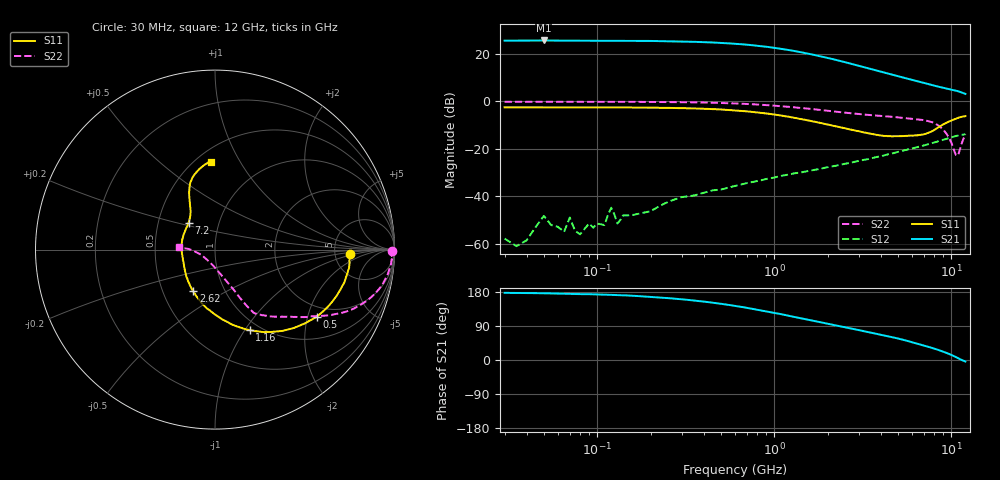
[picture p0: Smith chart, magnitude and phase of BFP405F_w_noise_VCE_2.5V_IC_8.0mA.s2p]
! Infineon Technologies  Discrete & RF Semiconductors
! BFP405F
! VCE =  2.5 V,  IC =  8.0 mA
! Common Emitter S-Parameters:  Nov 2015
# GHz  S  MA  R  50
!  f  S11  S21  S12  S22
! GHz  MAG  ANG  MAG  ANG  MAG  ANG  MAG  ANG
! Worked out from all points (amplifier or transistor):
!   239 points, 30 MHz to 12 GHz, reference 50 ohm
!   highest |S21| = 25.7 dB at 50 MHz (marker M1)
!   |S21| within 3 dB of that: start of sweep to 978.3 MHz
!   unconditionally stable (mu >= 1): 2.464 GHz to end of sweep
!   at 300 MHz: K = 0.15, MSG = 32.8 dB, |S12| = -40.3 dB
!   at 1.88 GHz: K = 0.82, MSG = 23.4 dB, |S12| = -28.1 dB
!   at 12 GHz: K = 1.41, MAG = 4.7 dB, |S12| = -13.8 dB
!   lowest NFmin = 1.52 dB at 450 MHz
!   S11 on the Smith chart (normalised r, x): 30 MHz: 7.04, -0.82; 500 MHz: 1.65, -2.29; 1.16 GHz: 0.89, -1.05; 2.62 GHz: 0.71, -0.36; 7.2 GHz: 0.71, +0.23; 12 GHz: 0.59, +0.76
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0.03  0.7542 -1.9  19.08 177.2  0.0013 157.4  0.9841 -0.5
0.035  0.754 -2.2  19.09 177.0  0.0009 118.3  0.9845 -0.8
0.05  0.7522 -3.8  19.26 175.9  0.0039 15.0  0.9907 -1.7
0.085  0.7534 -5.8  19.01 173.7  0.0021 60.9  0.9895 -2.3
0.11  0.7544 -7.7  18.92 172.4  0.0025 95.6  0.9864 -3.1
0.12  0.7519 -8.4  18.91 172.0  0.0058 88.8  0.9845 -3.6
0.13  0.7504 -9.2  18.89 171.1  0.0027 115.4  0.9845 -3.9
0.15  0.7483 -10.5  18.94 170.2  0.004 62.7  0.9846 -4.5
0.24  0.7361 -16.7  18.58 164.0  0.0071 80.1  0.9751 -7.4
0.36  0.7126 -24.6  17.98 156.5  0.0107 81.9  0.9579 -10.8
0.5  0.6794 -33.4  17.12 148.3  0.014 74.8  0.9312 -14.6
0.6  0.648 -39.4  16.41 142.7  0.0167 76.1  0.9104 -16.9
0.9  0.5603 -55.0  14.22 128.4  0.0233 71.1  0.8405 -23.0
1.16  0.4885 -66.7  12.4 118.4  0.0281 67.4  0.7819 -26.9
1.64  0.3836 -85.4  9.746 104.1  0.0356 65.2  0.6922 -32.3
2.08  0.3185 -100.8  8.004 94.0  0.0426 63.0  0.6287 -36.7
2.62  0.2619 -117.4  6.445 84.5  0.0503 61.5  0.5722 -40.9
3.3  0.2199 -136.3  5.144 74.9  0.0606 60.1  0.5265 -45.2
4.5  0.1862 -167.3  3.771 61.7  0.0786 57.4  0.4803 -50.7
7.2  0.2103 134.2  2.373 36.4  0.1223 48.0  0.3948 -59.2
10.8  0.4454 103.1  1.659 5.9  0.1908 29.2  0.0722 -137.2
12  0.4906 92.7  1.446 -4.0  0.2045 22.7  0.2032 176.5
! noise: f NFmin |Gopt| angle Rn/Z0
0.45  1.52  0.27  6  0.33
0.9  1.54  0.24  12  0.32
1.5  1.6  0.23  17  0.29
1.9  1.63  0.21  23  0.3
2.4  1.77  0.2  31  0.33
3  1.84  0.18  45  0.31
3.5  1.9  0.16  52  0.3
4.5  2.05  0.13  55  0.2
5.5  2.24  0.07  59  0.06
